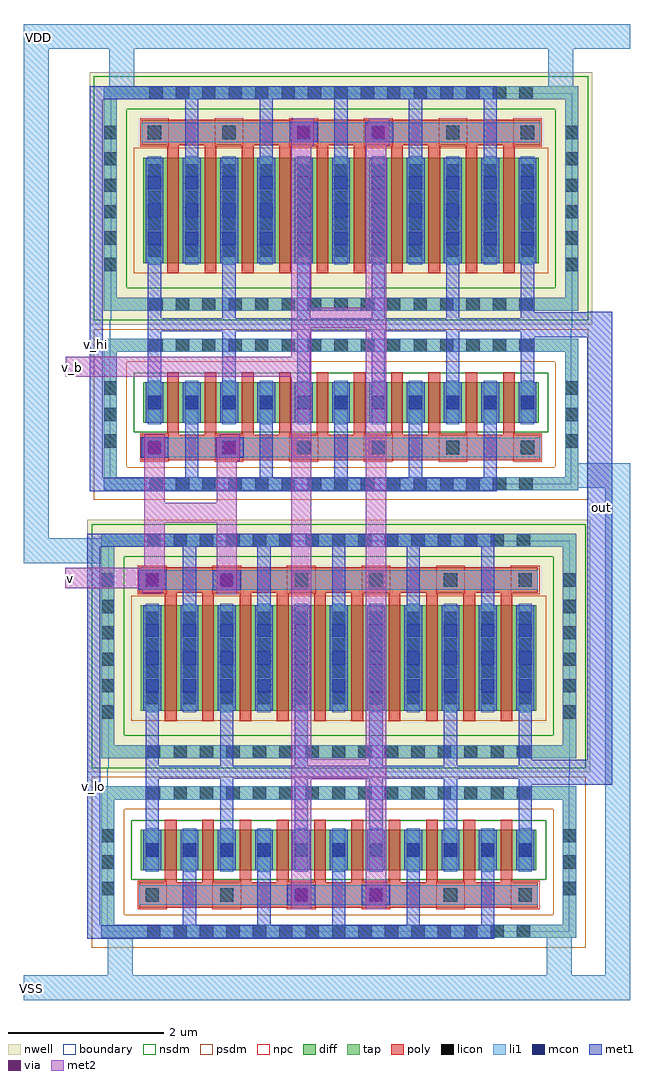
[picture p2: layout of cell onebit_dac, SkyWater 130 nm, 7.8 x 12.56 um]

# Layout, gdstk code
from math import pi, radians
import gdstk
lib = gdstk.Library(unit=1e-6, precision=1e-09)
def R(c, l, rs):  # rectangles x0, y0, x1, y1
    for r in rs: c.add(gdstk.rectangle(r[:2], r[2:], *l))
def A(c, l, x, y, w, h, nx, ny, dx, dy):  # array of equal rectangles
    R(c, l, [(x+i*dx, y+j*dy, x+i*dx+w, y+j*dy+h) for i in range(nx) for j in range(ny)])
nwell = (64, 20)
diff = (65, 20)
tap = (65, 44)
poly = (66, 20)
licon = (66, 44)
li1 = (67, 20)
mcon = (67, 44)
met1 = (68, 20)
via = (68, 44)
met2 = (69, 20)
nsdm = (93, 44)
psdm = (94, 20)
npc = (95, 20)
boundary = (235, 4)

pmos_tgate = lib.new_cell('pmos_tgate')
R(pmos_tgate, nwell, [(-3.23,-1.78,3.24,1.47)])
R(pmos_tgate, diff, [(-2.54,-0.68,2.55,0.68)])
R(pmos_tgate, tap, [(-3.05,-1.6,3.06,-1.43), (-3.05,-1.43,-2.88,1.12), (2.89,-1.43,3.06,1.12), (-3.05,1.12,3.06,1.29)])
A(pmos_tgate, poly, -2.23, -0.84, 0.15, 1.65, 10, 1, 0.48, 0)
R(pmos_tgate, poly, [(-2.56,-1.17,2.57,-0.84)])
A(pmos_tgate, licon, -2.46, -1.6, 0.17, 0.17, 15, 2, 0.34, 2.72)
A(pmos_tgate, licon, -3.05, -1.09, 0.17, 0.17, 1, 6, 0, 0.34)
A(pmos_tgate, licon, -2.48, -1.09, 0.17, 0.17, 6, 1, 0.96, 0)
A(pmos_tgate, licon, 2.89, -1.09, 0.17, 0.17, 1, 6, 0, 0.34)
A(pmos_tgate, licon, -2.48, -0.595, 0.17, 0.17, 11, 4, 0.48, 0.34)
A(pmos_tgate, li1, -2.48, -0.7, 0.17, 1.4, 11, 1, 0.48, 0)
R(pmos_tgate, li1, [(-3.05,-1.6,3.06,-1.43), (-3.05,-1.43,-2.88,1.12), (2.89,-1.43,3.06,1.12), (-2.56,-1.13,2.57,-0.88), (-3.05,1.12,3.06,1.29)])
A(pmos_tgate, mcon, -2.48, -0.445, 0.17, 0.17, 11, 3, 0.48, 0.36)
A(pmos_tgate, met1, -2.51, -0.68, 0.23, 1.36, 11, 1, 0.48, 0)
R(pmos_tgate, nsdm, [(-3.175,-1.725,3.185,-1.305), (-3.175,-1.305,-2.755,0.995), (2.765,-1.305,3.185,0.995), (-3.175,0.995,3.185,1.415)])
R(pmos_tgate, psdm, [(-2.665,-0.805,2.675,0.805)])
A(pmos_tgate, npc, -2.58, -1.19, 0.37, 0.37, 6, 1, 0.96, 0)
R(pmos_tgate, boundary, [(-2.97,-1.51,2.97,1.51)])

nmos_tgate = lib.new_cell('nmos_tgate')
R(nmos_tgate, diff, [(-2.54,-0.26,2.55,0.26)])
R(nmos_tgate, tap, [(-3.05,-1.13,3.06,-0.96), (-3.05,-0.96,-2.88,0.65), (2.89,-0.96,3.06,0.65), (-3.05,0.65,3.06,0.82)])
A(nmos_tgate, poly, -2.23, -0.415, 0.15, 0.805, 10, 1, 0.48, 0)
R(nmos_tgate, poly, [(-2.56,-0.745,2.57,-0.415)])
A(nmos_tgate, licon, -2.46, -1.13, 0.17, 0.17, 15, 2, 0.34, 1.78)
A(nmos_tgate, licon, -2.48, -0.665, 0.17, 0.17, 6, 1, 0.96, 0)
A(nmos_tgate, licon, -3.05, -0.58, 0.17, 0.17, 1, 3, 0, 0.34)
A(nmos_tgate, licon, 2.89, -0.58, 0.17, 0.17, 1, 3, 0, 0.34)
A(nmos_tgate, licon, -2.48, -0.085, 0.17, 0.17, 11, 1, 0.48, 0)
A(nmos_tgate, li1, -2.48, -0.28, 0.17, 0.56, 11, 1, 0.48, 0)
R(nmos_tgate, li1, [(-3.05,-1.13,3.06,-0.96), (-3.05,-0.96,-2.88,0.65), (2.89,-0.96,3.06,0.65), (-2.56,-0.705,2.57,-0.455), (-3.05,0.65,3.06,0.82)])
A(nmos_tgate, mcon, -2.48, -0.085, 0.17, 0.17, 11, 1, 0.48, 0)
A(nmos_tgate, met1, -2.51, -0.26, 0.23, 0.52, 11, 1, 0.48, 0)
R(nmos_tgate, nsdm, [(-2.665,-0.385,2.675,0.385)])
R(nmos_tgate, psdm, [(-3.175,-1.255,3.185,-0.835), (-3.175,-0.835,-2.755,0.525), (2.765,-0.835,3.185,0.525), (-3.175,0.525,3.185,0.945)])
A(nmos_tgate, npc, -2.58, -0.765, 0.37, 0.37, 6, 1, 0.96, 0)
R(nmos_tgate, boundary, [(-2.97,-1.05,2.97,1.05)])

transmission_gate = lib.new_cell('transmission_gate')
R(transmission_gate, li1, [(5.855,-0.065,6.025,0.095), (0.405,0.36,0.485,0.61), (0.405,4.415,0.485,4.665), (5.855,4.965,6.025,5.135)])
A(transmission_gate, met1, 0.965, 0.095, 0.17, 0.805, 5, 2, 0.96, 4.065)
A(transmission_gate, met1, 0.485, 1.265, 0.17, 0.715, 6, 1, 0.96, 0)
A(transmission_gate, met1, 0.485, 2.15, 0.17, 0.89, 6, 1, 0.96, 0)
R(transmission_gate, met1, [(-0.265,-0.075,4.975,0.095), (-0.265,0.095,-0.095,4.965), (0.485,1.98,5.455,2.15), (-0.265,4.965,4.975,5.135)])
transmission_gate.add(gdstk.Reference(pmos_tgate, (2.975,3.535), rotation=pi))
transmission_gate.add(gdstk.Reference(nmos_tgate, (2.965,1.065)))
transmission_gate.add(gdstk.Label('in', (-0.17,2.05), layer=68, texttype=16))
transmission_gate.add(gdstk.Label('out', (5.37,2.06), layer=68, texttype=16))
transmission_gate.add(gdstk.Label('en', (0.44,0.49), layer=67, texttype=16))
transmission_gate.add(gdstk.Label('en_b', (0.44,4.55), layer=67, texttype=16))
transmission_gate.add(gdstk.Label('VDD', (5.94,5.05), layer=67, texttype=16))
transmission_gate.add(gdstk.Label('VSS', (5.94,0.01), layer=67, texttype=16))

onebit_dac = lib.new_cell('onebit_dac')
R(onebit_dac, li1, [(-0.03,-6.37,7.77,-6.05), (1.05,-6.05,1.37,-5.5), (6.7,-6.05,7.02,-5.45), (7.45,-6.05,7.77,0.22), (3.455,-5.105,3.625,-4.935), (4.415,-5.105,4.585,-4.935), (1.535,-1.05,1.705,-0.88), (2.495,-1.05,2.665,-0.88), (-0.03,-0.75,1.05,-0.43), (-0.03,-0.43,0.29,5.87), (6.95,0.22,7.77,0.54), (1.565,0.655,1.735,0.825), (2.525,0.655,2.695,0.825), (3.485,4.71,3.655,4.88), (4.445,4.71,4.615,4.88), (6.72,5.24,7.04,5.87), (1.07,5.28,1.39,5.87), (-0.03,5.87,7.77,6.19)])
R(onebit_dac, mcon, [(3.455,-5.105,3.625,-4.935), (4.415,-5.105,4.585,-4.935), (1.535,-1.05,1.705,-0.88), (2.495,-1.05,2.665,-0.88), (1.565,0.655,1.735,0.825), (2.525,0.655,2.695,0.825), (3.485,4.71,3.655,4.88), (4.445,4.71,4.615,4.88)])
R(onebit_dac, met1, [(0.785,-5.58,0.955,-0.37), (3.36,-5.15,3.72,-4.89), (4.32,-5.15,4.68,-4.89), (6.4,-3.6,7.54,-3.28), (7.22,-3.28,7.54,2.16), (2.4,-1.1,2.76,-0.84), (1.44,-1.09,1.8,-0.83), (0.815,0.18,0.985,5.39), (1.47,0.61,1.83,0.87), (2.44,0.61,2.8,0.87), (6.46,2.16,7.54,2.48), (7.22,2.48,7.54,2.49), (3.39,4.67,3.75,4.93), (4.36,4.67,4.72,4.93)])
R(onebit_dac, via, [(3.465,-5.095,3.615,-4.945), (4.425,-5.095,4.575,-4.945), (2.505,-1.045,2.655,-0.895), (1.545,-1.035,1.695,-0.885), (1.575,0.665,1.725,0.815), (2.545,0.665,2.695,0.815), (3.495,4.725,3.645,4.875), (4.465,4.725,4.615,4.875)])
R(onebit_dac, met2, [(3.41,-5.2,3.67,-3.53), (4.37,-5.2,4.63,-3.53), (3.41,-3.53,4.63,-3.27), (3.41,-3.27,3.67,1.65), (4.37,-3.27,4.63,2.28), (2.45,-1.15,2.71,-0.23), (1.49,-1.14,1.75,-1.09), (1.49,-1.09,1.78,-1.07), (0.5,-1.07,1.78,-0.81), (1.49,-0.81,1.78,-0.78), (1.52,-0.78,1.78,-0.23), (1.52,-0.23,2.71,0.03), (1.52,0.03,1.78,0.92), (2.45,0.03,2.71,0.56), (2.45,0.56,2.75,0.87), (2.49,0.87,2.75,0.92), (0.51,1.65,3.67,1.91), (3.41,1.91,3.67,2.28), (3.41,2.28,4.63,2.54), (3.41,2.54,3.67,4.62), (4.37,2.54,4.63,4.62), (3.41,4.62,3.7,4.97), (4.37,4.62,4.67,4.9), (4.41,4.9,4.67,4.98), (3.44,4.97,3.7,4.98)])
onebit_dac.add(gdstk.Reference(transmission_gate, (1.05,-5.505)))
onebit_dac.add(gdstk.Reference(transmission_gate, (1.08,0.255)))
onebit_dac.add(gdstk.Label('v_hi', (0.89,2.06), layer=68, texttype=16))
onebit_dac.add(gdstk.Label('v_lo', (0.87,-3.62), layer=68, texttype=16))
onebit_dac.add(gdstk.Label('v', (0.57,-0.94), layer=69, texttype=16))
onebit_dac.add(gdstk.Label('v_b', (0.6,1.77), layer=69, texttype=16))
onebit_dac.add(gdstk.Label('out', (7.4,-0.03), layer=68, texttype=16))
onebit_dac.add(gdstk.Label('VDD', (0.16,6.01), layer=67, texttype=16))
onebit_dac.add(gdstk.Label('VSS', (0.07,-6.22), layer=67, texttype=16))

lib.write_gds('onebit_dac.gds')
